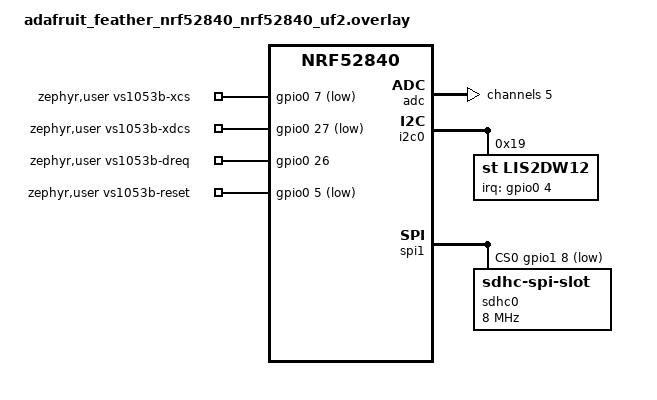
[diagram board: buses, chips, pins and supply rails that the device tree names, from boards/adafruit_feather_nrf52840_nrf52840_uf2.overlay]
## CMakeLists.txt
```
cmake_minimum_required(VERSION 3.20.0)
find_package(Zephyr REQUIRED HINTS $ENV{ZEPHYR_BASE})
project(bleatbox)

target_sources(app PRIVATE
    src/main.c
    src/accel.c
    src/battery.c
    src/vs1053b.c
    src/sdcard.c
    src/audio.c
    src/ble.c
    src/ota.c
    src/fw_image.c
    src/broadcast_log.c
    src/broadcast_log_core.c
    src/compose.c
    src/sounds.c
    src/wrap_to_range.c
    src/device_config.c
    src/device_config_parse.c
    src/sounds_match.c
    src/message.c
)

target_sources_ifdef(CONFIG_SHELL app PRIVATE
    src/shell.c
)
```

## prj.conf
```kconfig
# Bluetooth
CONFIG_BT=y
CONFIG_BT_BROADCASTER=y
CONFIG_BT_OBSERVER=y
CONFIG_BT_EXT_ADV=y
CONFIG_BT_CTLR_ADV_EXT=y
# Two advertising sets: the mesh's non-connectable set + the OTA window's
# connectable set used for SMP-over-BLE.
CONFIG_BT_EXT_ADV_MAX_ADV_SET=2
CONFIG_BT_CTLR_ADV_DATA_LEN_MAX=128
CONFIG_BT_CTLR_SCAN_DATA_LEN_MAX=128

# OTA: become connectable during an update window so an operator can push a
# firmware image over SMP-over-BLE. A per-device name is set at arm time.
CONFIG_BT_PERIPHERAL=y
CONFIG_BT_DEVICE_NAME_DYNAMIC=y
CONFIG_BT_DEVICE_NAME_MAX=24

# SMP / mcumgr over BLE — File System group for `mcumgr fs upload` of the
# image to the SD card, and OS group for `mcumgr reset` as a commit path.
# Image (img_mgmt) group is intentionally NOT used: no MCUboot here.
CONFIG_ZCBOR=y
CONFIG_MCUMGR=y
CONFIG_MCUMGR_TRANSPORT_BT=y
CONFIG_MCUMGR_GRP_FS=y
CONFIG_MCUMGR_GRP_OS=y

# SMP-over-BLE upload tuning (mirrors Zephyr's smp_svr bt.conf).
# REASSEMBLY lets an SMP request span several BLE writes — without it any
# upload chunk larger than one MTU is parsed as a corrupt frame (ECORRUPT).
# MCUMGR_PARAMS reports the buffer size so the host sizes chunks to fit; the
# larger MTU/ACL/data-length and 2475-byte netbuf make the transfer fast
# enough to finish inside the OTA window.
CONFIG_MCUMGR_TRANSPORT_BT_REASSEMBLY=y
CONFIG_MCUMGR_GRP_OS_MCUMGR_PARAMS=y
CONFIG_MCUMGR_TRANSPORT_NETBUF_SIZE=2475
CONFIG_MCUMGR_TRANSPORT_WORKQUEUE_STACK_SIZE=4608
CONFIG_MCUMGR_TRANSPORT_BT_CONN_PARAM_CONTROL=y
CONFIG_BT_L2CAP_TX_MTU=498
CONFIG_BT_BUF_ACL_RX_SIZE=502
CONFIG_BT_BUF_ACL_TX_SIZE=502
CONFIG_BT_CTLR_DATA_LENGTH_MAX=251

# GPIO
CONFIG_GPIO=y

# I2C (LIS2DW12 accelerometer)
CONFIG_I2C=y

# SPI
CONFIG_SPI=y

# ADC (battery voltage monitor via SAADC)
CONFIG_ADC=y

# Sensor subsystem (LIS2DW12 accelerometer)
CONFIG_SENSOR=y
CONFIG_LIS2DW12=y
CONFIG_LIS2DW12_TRIGGER_GLOBAL_THREAD=y
CONFIG_LIS2DW12_WAKEUP=y

# SD card (SDMMC auto-selects SD_STACK -> SDHC)
CONFIG_SDMMC_STACK=y

# Filesystem
CONFIG_FILE_SYSTEM=y
CONFIG_FAT_FILESYSTEM_ELM=y
CONFIG_FS_FATFS_LFN=y
CONFIG_FS_FATFS_LFN_MODE_HEAP=y

# Disk
CONFIG_DISK_ACCESS=y
CONFIG_DISK_DRIVERS=y

# Shell
CONFIG_SHELL=y

# Logging
CONFIG_LOG=y
CONFIG_LOG_DEFAULT_LEVEL=3

# Random number generator
CONFIG_ENTROPY_GENERATOR=y
CONFIG_TEST_RANDOM_GENERATOR=n

# USB device descriptor
CONFIG_CDC_ACM_SERIAL_VID=0x2FE3
CONFIG_CDC_ACM_SERIAL_PID=0x0004
CONFIG_CDC_ACM_SERIAL_MANUFACTURER_STRING="BleatBox"
CONFIG_CDC_ACM_SERIAL_PRODUCT_STRING="BleatBox"

# Power management
CONFIG_PM=y
CONFIG_PM_DEVICE=y

# nRF52840 DC-DC converter (board has the required inductor; more
# efficient than the default LDO).  The board devicetree requests
# DCDC mode, but the regulator driver must be enabled to apply it.
CONFIG_REGULATOR=y

# System
# Heap raised from 8 KB to cover mcumgr/zcbor + SMP buffers during an OTA
# window (in addition to the FAT LFN heap).
CONFIG_HEAP_MEM_POOL_SIZE=16384
CONFIG_MAIN_STACK_SIZE=4096

# Stack overflow detection via MPU — zero runtime cost on nRF52840,
# catches corruption from FAT FS and SPI driver stack usage
CONFIG_HW_STACK_PROTECTION=y

# UF2 output for drag-and-drop flashing
CONFIG_BUILD_OUTPUT_UF2=y

# Use flash partition layout from device tree (UF2 bootloader)
CONFIG_USE_DT_CODE_PARTITION=y
```

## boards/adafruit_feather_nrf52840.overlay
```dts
/*
 * Devicetree overlay for Adafruit Feather nRF52840 Express
 * with Adafruit Music Maker FeatherWing (VS1053B + SD card).
 *
 * Feather pin mapping (nRF52840 GPIO):
 *   D5  = P1.08  ->  SD card CS (directly on FeatherWing)
 *   D6  = P0.07  ->  VS1053B XCS  (SCI command chip select)
 *   D9  = P0.26  ->  VS1053B DREQ (data request, active high)
 *   D10 = P0.27  ->  VS1053B XDCS (SDI data chip select)
 *   A0  = P0.04  ->  SW-18010P vibration switch (external pull-up via internal)
 *
 *   SPI bus (feather header):
 *     SCK  = P0.14
 *     MOSI = P0.13
 *     MISO = P0.15
 */

/ {
	chosen {
		zephyr,console = &cdc_acm_uart0;
		zephyr,shell-uart = &cdc_acm_uart0;
	};

	aliases {
		sdhc0 = &sdhc0;
	};

	vibration_switch: vibration_switch {
		compatible = "gpio-keys";
		vibration_sw: vibration_sw {
			gpios = <&gpio0 4 (GPIO_PULL_UP | GPIO_ACTIVE_LOW)>;
			label = "Vibration switch (SW-18010P)";
		};
	};

	/*
	 * Application-specific GPIOs for the VS1053B codec.
	 * XCS and XDCS are SPI chip selects managed via spi_cs_control
	 * (not gpio-leds) so the SPI driver handles bus locking atomically.
	 * DREQ is a pure input — polled to gate SPI transfers.
	 */
	zephyr,user {
		vs1053b-xcs-gpios = <&gpio0 7 GPIO_ACTIVE_LOW>;
		vs1053b-xdcs-gpios = <&gpio0 27 GPIO_ACTIVE_LOW>;
		vs1053b-dreq-gpios = <&gpio0 26 GPIO_ACTIVE_HIGH>;
	};
};

&zephyr_udc0 {
	cdc_acm_uart0: cdc_acm_uart0 {
		compatible = "zephyr,cdc-acm-uart";
	};
};

&spi1 {
	status = "okay";
	cs-gpios = <&gpio1 8 GPIO_ACTIVE_LOW>;

	sdhc0: sdhc@0 {
		compatible = "zephyr,sdhc-spi-slot";
		reg = <0>;
		spi-max-frequency = <8000000>;
		status = "okay";

		mmc {
			compatible = "zephyr,sdmmc-disk";
			disk-name = "SD";
			status = "okay";
		};
	};
};
```

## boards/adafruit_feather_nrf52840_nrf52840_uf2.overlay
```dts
/*
 * Devicetree overlay for Adafruit Feather nRF52840 Express
 * with Adafruit Music Maker FeatherWing (VS1053B + SD card)
 * and LIS2DW12 accelerometer.
 *
 * Feather pin mapping (nRF52840 GPIO):
 *   D5  = P1.08  ->  SD card CS (directly on FeatherWing)
 *   D6  = P0.07  ->  VS1053B XCS  (SCI command chip select)
 *   D9  = P0.26  ->  VS1053B DREQ (data request, active high)
 *   D10 = P0.27  ->  VS1053B XDCS (SDI data chip select)
 *   A0  = P0.04  ->  LIS2DW12 INT1 (wakeup interrupt)
 *   A1  = P0.05  ->  VS1053B XRESET (hardware reset, active low).
 *                    Requires the FeatherWing RST jumper cut and the
 *                    rst pad wired to A1; lets firmware hold the codec
 *                    in reset (~12 uA) when idle.
 *
 *   SPI bus (feather header):
 *     SCK  = P0.14
 *     MOSI = P0.13
 *     MISO = P0.15
 *
 *   I2C bus (feather header):
 *     SDA  = P0.12
 *     SCL  = P0.11
 *
 *   Battery sense (Feather rev D):
 *     P0.29 = AIN5  ->  VBAT through an on-board 100k/100k divider.
 *                       The divider (the `vbatt` node) is defined by the
 *                       board devicetree; this overlay only adds the
 *                       matching SAADC channel.
 */

#include <zephyr/dt-bindings/adc/adc.h>
#include <zephyr/dt-bindings/adc/nrf-saadc.h>

/* OTA flash split: updater @0x26000, this app @0x3e000. */
#include "bleatbox-partitions.dtsi"

/ {
	chosen {
		/* The app runs from main_app; the updater owns 0x26000. */
		zephyr,code-partition = &main_app;
	};

	aliases {
		sdhc0 = &sdhc0;
	};

	/*
	 * Application-specific GPIOs for the VS1053B codec.
	 * XCS and XDCS are SPI chip selects managed via spi_cs_control
	 * (not gpio-leds) so the SPI driver handles bus locking atomically.
	 * DREQ is a pure input — polled to gate SPI transfers.
	 * XRESET (active low) holds the codec in hardware reset when idle.
	 */
	zephyr,user {
		vs1053b-xcs-gpios = <&gpio0 7 GPIO_ACTIVE_LOW>;
		vs1053b-xdcs-gpios = <&gpio0 27 GPIO_ACTIVE_LOW>;
		vs1053b-dreq-gpios = <&gpio0 26 GPIO_ACTIVE_HIGH>;
		vs1053b-reset-gpios = <&gpio0 5 GPIO_ACTIVE_LOW>;
	};
};

&uart0 {
	status = "disabled";
};

/*
 * SAADC channel for the battery-sense divider on AIN5 (P0.29).
 * Gain 1/6 with the 0.6 V internal reference gives a 3.6 V full-scale
 * range, comfortably above the divided VBAT (~2.1 V at 4.2 V battery).
 */
&adc {
	#address-cells = <1>;
	#size-cells = <0>;

	channel@5 {
		reg = <5>;
		zephyr,gain = "ADC_GAIN_1_6";
		zephyr,reference = "ADC_REF_INTERNAL";
		zephyr,acquisition-time = <ADC_ACQ_TIME(ADC_ACQ_TIME_MICROSECONDS, 10)>;
		zephyr,input-positive = <NRF_SAADC_AIN5>;
		zephyr,resolution = <12>;
	};
};

&i2c0 {
	lis2dw12: lis2dw12@19 {
		compatible = "st,lis2dw12";
		reg = <0x19>;
		irq-gpios = <&gpio0 4 GPIO_ACTIVE_HIGH>;
		int-pin = <1>;
		power-mode = <0>; /* LP mode 1 (12-bit) */
		odr = <100>;
		range = <2>;
		wakeup-duration = <0>; /* 1 ODR cycle above threshold */
	};
};

&spi1 {
	status = "okay";
	cs-gpios = <&gpio1 8 GPIO_ACTIVE_LOW>;

	sdhc0: sdhc@0 {
		compatible = "zephyr,sdhc-spi-slot";
		reg = <0>;
		spi-max-frequency = <8000000>;
		status = "okay";

		mmc {
			compatible = "zephyr,sdmmc-disk";
			disk-name = "SD";
			status = "okay";
		};
	};
};
```

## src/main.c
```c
/*
 * BleatBox — Networked sound trigger firmware
 *
 * Hardware: Adafruit Feather nRF52840 Express
 *           Adafruit Music Maker FeatherWing (VS1053B codec + SD card)
 *           LIS2DW12 accelerometer on I2C0, INT1 on A0 (P0.04)
 *
 * Architecture: event-driven main loop.
 *
 * The vibration and BLE modules are pure event producers — they push
 * events into a shared k_msgq with no knowledge of each other or the
 * audio subsystem.  The main loop is the sole consumer: it waits for
 * events, decides whether to act, and orchestrates BLE broadcasting
 * and sound playback.
 */

#include <zephyr/kernel.h>
#include <zephyr/drivers/gpio.h>
#include <zephyr/logging/log.h>

#include "compose.h"
#include "device_config.h"
#include "events.h"
#include "accel.h"
#include "battery.h"
#include "sdcard.h"
#include "sounds.h"
#include "audio.h"
#include "ble.h"
#include "ota.h"

LOG_MODULE_REGISTER(bleatbox, LOG_LEVEL_INF);

/* ------------------------------------------------------------------ */
/* Onboard LED (boot indicator)                                       */
/* ------------------------------------------------------------------ */

#define LED0_NODE DT_ALIAS(led0)
static const struct gpio_dt_spec g_led = GPIO_DT_SPEC_GET(LED0_NODE, gpios);

/* ------------------------------------------------------------------ */
/* Compile-time configuration                                         */
/* ------------------------------------------------------------------ */

/* Sound played locally when this device detects vibration. */
#define VIBRATION_SOUND_INDEX 0

/* ------------------------------------------------------------------ */
/* Event queue                                                        */
/* ------------------------------------------------------------------ */

/*
 * Depth 4: enough to buffer a burst of events while the main loop
 * is handling one.  Excess events are silently dropped at the
 * producer (k_msgq_put with K_NO_WAIT), which is the desired
 * behavior — we never queue up a backlog of sounds.
 */
#define EVENT_QUEUE_DEPTH 4
K_MSGQ_DEFINE(event_q, sizeof(struct event), EVENT_QUEUE_DEPTH, 4);

/* ------------------------------------------------------------------ */
/* Vibration cooldown                                                 */
/* ------------------------------------------------------------------ */

#define VIBRATION_COOLDOWN_MS 1000

static volatile bool g_drop_vibration_events;

static void cooldown_expired(struct k_timer *timer)
{
    ARG_UNUSED(timer);
    g_drop_vibration_events = false;
    LOG_INF("Vibration cooldown expired");
}

static K_TIMER_DEFINE(g_vibration_cooldown_timer, cooldown_expired, NULL);

/* ------------------------------------------------------------------ */
/* Event handlers                                                     */
/* ------------------------------------------------------------------ */

static void handle_vibration(void)
{
    if (ota_is_active()) {
        LOG_INF("Vibration dropped — OTA update in progress");
        return;
    }

    /*
     * A playing sound (e.g. a BLE-assigned one) shakes the enclosure;
     * don't broadcast assignments for vibration we likely caused
     * ourselves while our own playback request would be discarded.
     * This also covers the window between a claim and the main loop
     * processing its EVENT_AUDIO_START.
     */
    if (audio_is_playing()) {
        LOG_INF("Vibration dropped — sound already playing");
        return;
    }

    LOG_INF("Vibration detected");

    char path[32];
    int ret = sounds_get_path(SOUND_TYPE_GOAT, VIBRATION_SOUND_INDEX,
                              path, sizeof(path));
    if (ret) {
        LOG_ERR("Cannot resolve sound %u: %d", VIBRATION_SOUND_INDEX, ret);
        return;
    }

    if (audio_play_sound(path, 0)) {
        /* Lost a race with another codec claim — don't broadcast a
         * message for a sound we didn't play. */
        return;
    }

    uint8_t payload[16];
    int err = compose_message(payload);
    if (err) {
        LOG_WRN("Message compose failed (%d) — check config and sound count",
                err);
        return;
    }

    LOG_INF("Broadcasting bleat message");
    ble_broadcast_message(payload);
}

static void handle_ble_rx(const struct event *evt)
{
    if (ota_is_active()) {
        LOG_INF("BLE RX dropped — OTA update in progress");
        return;
    }

    if (audio_is_playing()) {
        LOG_INF("BLE RX dropped — sound already playing");
        return;
    }

    enum sound_type type = ble_sound_decode_type(evt->sound);
    uint8_t index = ble_sound_decode_index(evt->sound);

    char path[32];
    int ret = sounds_get_path(type, index, path, sizeof(path));
    if (ret) {
        LOG_WRN("BLE RX dropped — invalid sound 0x%02x", evt->sound);
        return;
    }

    LOG_INF("BLE RX assignment: sound=0x%02x delay=%u ms",
            evt->sound, evt->delay_ms);

    audio_play_sound(path, evt->delay_ms);
}

/* ------------------------------------------------------------------ */
/* Main                                                               */
/* ------------------------------------------------------------------ */

int main(void)
{
    LOG_INF("BleatBox firmware starting");

    /* --- Boot indicator (blink LED 3 times) --- */
    if (gpio_is_ready_dt(&g_led)) {
        gpio_pin_configure_dt(&g_led, GPIO_OUTPUT_INACTIVE);
        for (int i = 0; i < 3; i++) {
            gpio_pin_set_dt(&g_led, 1);
            k_msleep(100);
            gpio_pin_set_dt(&g_led, 0);
            k_msleep(100);
        }
    }

    if (audio_init(&event_q)) {
        LOG_ERR("Audio init failed — playback disabled");
    }
    sdcard_init();
    sounds_init();
    if (accel_init(&event_q)) {
        LOG_ERR("Accelerometer init failed — vibration triggers disabled");
    }
    if (battery_init()) {
        LOG_ERR("Battery monitor init failed — battery reads disabled");
    }
    if (ble_init(&event_q)) {
        LOG_ERR("BLE init failed — broadcasts and relays disabled");
    }
    if (ota_init(&event_q)) {
        LOG_ERR("OTA init failed — over-the-air updates disabled");
    }

    struct device_config cfg;
    device_config_defaults(&cfg);

    if (sdcard_mount()) {
        LOG_ERR("SD card mount failed — playback disabled, using default config");
    } else {
        if (sounds_scan()) {
            LOG_ERR("Sound scan failed — playback disabled");
        }
        if (device_config_load(&cfg)) {
            LOG_ERR("Device config load failed — using default config");
            device_config_defaults(&cfg);
        }
    }

    /* --- Volume from config --- */
    audio_set_volume(cfg.volume);

    /* --- Message composition config --- */
    compose_init(cfg.delay_min_ms, cfg.delay_max_ms,
                 VIBRATION_SOUND_INDEX + 1,
                 sounds_get_count(SOUND_TYPE_GOAT));

    /* --- Start producers (any-motion interrupt, BLE scan) --- */
    if (accel_start(cfg.accel_threshold_mg)) {
        LOG_ERR("Accelerometer start failed — vibration triggers disabled");
    }
    if (ble_start(cfg.id, cfg.relay_ttl)) {
        LOG_ERR("BLE start failed — broadcasts and relays disabled");
    }
    ota_set_device_id(cfg.id);

    g_drop_vibration_events = false;

    LOG_INF("BleatBox ready — waiting for events");

    /* --- Event loop --- */
    struct event evt;
    for (;;) {
        /*
         * Block until an event arrives.  While blocked, the idle
         * thread runs and the nRF52840 enters System ON idle (ARM
         * WFE) — the lowest power state that keeps BLE scanning
         * alive.
         */
        k_msgq_get(&event_q, &evt, K_FOREVER);

        switch (evt.type) {
        case EVENT_VIBRATION:
            if (g_drop_vibration_events) {
                LOG_INF("Vibration dropped — cooldown active");
            } else {
                handle_vibration();
            }
            break;
        case EVENT_BLE_RX:
            handle_ble_rx(&evt);
            break;
        case EVENT_AUDIO_START:
            /*
             * Suppress vibration triggers for the whole audio
             * session. Stop any pending cooldown timer so a stale
             * expiry from a previous playback can't clear the flag
             * while this one is still running.
             */
            k_timer_stop(&g_vibration_cooldown_timer);
            g_drop_vibration_events = true;
            break;
        case EVENT_AUDIO_DONE:
            /* Keep suppressing until the enclosure rings down. */
            k_timer_start(&g_vibration_cooldown_timer,
                          K_MSEC(VIBRATION_COOLDOWN_MS), K_NO_WAIT);
            break;
        case EVENT_OTA_ARM:
            ota_start();
            break;
        case EVENT_OTA_CANCEL:
            ota_cancel();
            break;
        }
    }

    return 0; /* unreachable */
}
```

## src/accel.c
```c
/*
 * LIS2DW12 accelerometer — wakeup event producer.
 */

#include <zephyr/kernel.h>
#include <zephyr/device.h>
#include <zephyr/devicetree.h>
#include <zephyr/drivers/i2c.h>
#include <zephyr/drivers/sensor.h>
#include <zephyr/logging/log.h>

#include "accel.h"
#include "events.h"

LOG_MODULE_REGISTER(accel, LOG_LEVEL_INF);

#define LIS2DW12_REG_CTRL1 0x20

/*
 * 100 Hz, low-power mode 1: ODR[7:4]=0101, MODE[3:2]=00, LP_MODE[1:0]=01.
 */
#define LIS2DW12_ODR_100HZ_LP1 0x51

static const struct device *g_accel_dev =
    DEVICE_DT_GET(DT_NODELABEL(lis2dw12));

static const struct i2c_dt_spec g_i2c_spec =
    I2C_DT_SPEC_GET(DT_NODELABEL(lis2dw12));

static struct k_msgq *g_evt_q;

/* Set in accel_init() once the device is confirmed ready; gates
 * accel_start() so it never touches an unready peripheral. */
static bool g_ready;

/*
 * The sensor API stores this pointer (the LIS2DW12 driver hands it
 * back on every interrupt), so it must outlive accel_init().
 */
static const struct sensor_trigger g_motion_trigger = {
    .type = SENSOR_TRIG_MOTION,
    .chan = SENSOR_CHAN_ACCEL_XYZ,
};

static void accel_trigger_handler(const struct device *dev,
                                  const struct sensor_trigger *trig)
{
    struct event evt = {.type = EVENT_VIBRATION};
    k_msgq_put(g_evt_q, &evt, K_NO_WAIT);
}

int accel_init(struct k_msgq *event_q)
{
    g_evt_q = event_q;
    g_ready = device_is_ready(g_accel_dev);

    if (!g_ready) {
        LOG_ERR("LIS2DW12 device not ready");
        return -ENODEV;
    }

    LOG_INF("LIS2DW12 initialized");
    return 0;
}

int accel_set_threshold(uint16_t threshold_mg)
{
    if (!g_ready) {
        return -ENODEV;
    }

    /* Set wakeup threshold via the driver's attr interface.
     * Convert mg to m/s²: val = mg * 9.807 / 1000. */
    uint32_t ums2 = (uint32_t)threshold_mg * 9807;
    struct sensor_value threshold_val = {
        .val1 = ums2 / 1000000,
        .val2 = ums2 % 1000000,
    };

    int ret = sensor_attr_set(g_accel_dev, SENSOR_CHAN_ACCEL_XYZ,
                              SENSOR_ATTR_UPPER_THRESH, &threshold_val);
    if (ret) {
        LOG_ERR("Failed to set wakeup threshold: %d", ret);
    }
    return ret;
}

int accel_start(uint16_t threshold_mg)
{
    if (!g_ready) {
        return -ENODEV;
    }

    int ret = accel_set_threshold(threshold_mg);
    if (ret) {
        return ret;
    }

    /* Register wakeup trigger — begins producing EVENT_VIBRATION. */
    ret = sensor_trigger_set(g_accel_dev, &g_motion_trigger,
                             accel_trigger_handler);
    if (ret) {
        LOG_ERR("Failed to set trigger: %d", ret);
        return ret;
    }

    LOG_INF("LIS2DW12 started — threshold %u mg", threshold_mg);
    return 0;
}

int accel_sample_xyz(struct sensor_value *x,
                     struct sensor_value *y,
                     struct sensor_value *z)
{
    int ret = sensor_sample_fetch(g_accel_dev);
    if (ret) {
        return ret;
    }

    ret = sensor_channel_get(g_accel_dev, SENSOR_CHAN_ACCEL_X, x);
    if (ret) {
        return ret;
    }
    ret = sensor_channel_get(g_accel_dev, SENSOR_CHAN_ACCEL_Y, y);
    if (ret) {
        return ret;
    }
    return sensor_channel_get(g_accel_dev, SENSOR_CHAN_ACCEL_Z, z);
}

int accel_odr_boost(uint8_t *prev_ctrl1)
{
    int ret = i2c_reg_read_byte_dt(&g_i2c_spec, LIS2DW12_REG_CTRL1,
                                   prev_ctrl1);
    if (ret) {
        return ret;
    }
    return i2c_reg_write_byte_dt(&g_i2c_spec, LIS2DW12_REG_CTRL1,
                                 LIS2DW12_ODR_100HZ_LP1);
}

int accel_odr_restore(uint8_t prev_ctrl1)
{
    return i2c_reg_write_byte_dt(&g_i2c_spec, LIS2DW12_REG_CTRL1,
                                 prev_ctrl1);
}
```

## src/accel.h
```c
/*
 * LIS2DW12 accelerometer — wakeup event producer.
 *
 * Configures the accelerometer in low-power mode with a wakeup
 * interrupt threshold and pushes EVENT_VIBRATION into the provided
 * message queue on each trigger.
 */

#ifndef ACCEL_H_
#define ACCEL_H_

#include <zephyr/kernel.h>
#include <zephyr/drivers/sensor.h>

/**
 * Initialize the LIS2DW12 accelerometer module.
 *
 * Stores the event queue and verifies the device is ready.  Does not
 * configure or arm the wakeup interrupt — call accel_start() for that.
 *
 * @param event_q       Message queue to push EVENT_VIBRATION events into.
 * @return 0 on success, negative errno on failure.
 */
int accel_init(struct k_msgq *event_q);

/**
 * Configure the wakeup threshold and arm the motion trigger.
 *
 * After this call the accelerometer begins pushing EVENT_VIBRATION
 * events into the queue passed to accel_init().
 *
 * @param threshold_mg  Wakeup threshold in milli-g (e.g. 200 = 200 mg).
 * @return 0 on success, negative errno on failure (including -ENODEV
 *         if accel_init() did not succeed).
 */
int accel_start(uint16_t threshold_mg);

/**
 * Update the wakeup threshold on the live accelerometer.
 *
 * Applies immediately without re-arming the trigger; does not persist
 * to the SD-card config.
 *
 * @param threshold_mg  Wakeup threshold in milli-g (e.g. 200 = 200 mg).
 * @return 0 on success, negative errno on failure (including -ENODEV
 *         if accel_init() did not succeed).
 */
int accel_set_threshold(uint16_t threshold_mg);

/**
 * Read a single XYZ acceleration sample.
 *
 * @param[out] x  X-axis acceleration.
 * @param[out] y  Y-axis acceleration.
 * @param[out] z  Z-axis acceleration.
 * @return 0 on success, negative errno on failure.
 */
int accel_sample_xyz(struct sensor_value *x,
                     struct sensor_value *y,
                     struct sensor_value *z);

/**
 * Temporarily set the ODR to 100 Hz for interactive sampling.
 *
 * @param[out] prev_ctrl1  Previous CTRL1 register value (for restore).
 * @return 0 on success, negative errno on failure.
 */
int accel_odr_boost(uint8_t *prev_ctrl1);

/**
 * Restore the CTRL1 register to a previous value.
 *
 * @param prev_ctrl1  Value returned by accel_odr_boost().
 * @return 0 on success, negative errno on failure.
 */
int accel_odr_restore(uint8_t prev_ctrl1);

#endif /* ACCEL_H_ */
```

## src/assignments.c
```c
/*
 * Assignment generation — random sound/delay for each peer device.
 */

#include <stdbool.h>
#include <string.h>
#include <errno.h>
#include <zephyr/random/random.h>

#include "assignments.h"
#include "device_config.h"
#include "wrap_to_range.h"

/* Capacity matches the config limit so configured peers are never
 * silently dropped by the clamp in assignments_init(). */
#define MAX_PEERS DEVICE_CONFIG_MAX_PEERS

static struct assignment g_assignments[MAX_PEERS];
static uint8_t g_peer_ids[MAX_PEERS];
static uint8_t g_num_peers;
static uint16_t g_delay_min_ms;
static uint16_t g_delay_max_ms;
static uint8_t g_first_sound;
static uint8_t g_num_sounds;
static bool g_initialized;

void assignments_init(const uint8_t *ids, uint8_t count,
                      uint16_t min_ms, uint16_t max_ms,
                      uint8_t first_sound, uint8_t num_sounds)
{
    g_num_peers = count < MAX_PEERS ? count : MAX_PEERS;
    memcpy(g_peer_ids, ids, g_num_peers);
    g_delay_min_ms = min_ms;
    g_delay_max_ms = max_ms;
    g_first_sound = first_sound;
    g_num_sounds = num_sounds;
    g_initialized = true;
}

int assignments_generate(const struct assignment **out)
{
    if (!g_initialized) {
        return -EINVAL;
    }
    if (g_num_sounds < 2) {
        return 0;
    }

    for (int i = 0; i < g_num_peers; i++) {
        g_assignments[i].device_id = g_peer_ids[i];
        g_assignments[i].sound = (uint8_t)wrap_to_range(sys_rand32_get(),
                                                        g_first_sound,
                                                        g_num_sounds - 1);
        g_assignments[i].delay_ms = (uint16_t)wrap_to_range(
            sys_rand32_get(), g_delay_min_ms, g_delay_max_ms);
    }

    *out = g_assignments;
    return g_num_peers;
}
```

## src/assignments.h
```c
/*
 * Assignment generation — random sound/delay for each peer device.
 */

#ifndef ASSIGNMENTS_H_
#define ASSIGNMENTS_H_

#include <stdint.h>

/** A single device assignment (sound + delay). */
struct assignment {
    uint8_t device_id;
    uint8_t sound;
    uint16_t delay_ms;
};

/**
 * Store peer, delay, and sound count configuration for future assignments.
 *
 * @param peer_ids      Array of peer device IDs (copied internally).
 * @param num_peers     Length of @p peer_ids.
 * @param delay_min_ms  Minimum random delay in milliseconds.
 * @param delay_max_ms  Maximum random delay in milliseconds.
 * @param first_sound   Lowest sound index to assign (skips local-only sounds).
 * @param num_sounds    Number of available sounds.
 */
void assignments_init(const uint8_t *peer_ids, uint8_t num_peers,
                      uint16_t delay_min_ms, uint16_t delay_max_ms,
                      uint8_t first_sound, uint8_t num_sounds);

/**
 * Generate random sound and delay assignments for the configured peers.
 *
 * @param[out] out  Set to point to the internal assignment array.
 *                  Valid until the next call to assignments_generate().
 * @return     Number of assignments generated, or negative errno on error.
 */
int assignments_generate(const struct assignment **out);

#endif /* ASSIGNMENTS_H_ */
```

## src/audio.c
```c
/*
 * Audio subsystem — sound playback via VS1053B codec.
 *
 * Playback runs on a dedicated background thread.  audio_play_sound()
 * signals the thread and returns immediately so the caller is never
 * blocked during audio streaming.
 */

#include <zephyr/kernel.h>
#include <zephyr/device.h>
#include <zephyr/devicetree.h>
#include <zephyr/drivers/spi.h>
#include <zephyr/fs/fs.h>
#include <zephyr/logging/log.h>
#include <zephyr/sys/atomic.h>

#include <string.h>

#include "audio.h"
#include "events.h"
#include "sdcard.h"
#include "vs1053b.h"

LOG_MODULE_REGISTER(audio, LOG_LEVEL_INF);

/*
 * Optional VS1053B firmware patch, applied after every power-up
 * (hardware reset wipes it).  Compiled by scripts/compile_patch.py;
 * absent file means no patch — not an error.
 */
#define AUDIO_PATCH_PATH SDCARD_MOUNT_POINT "/patch.bin"

/* ------------------------------------------------------------------ */
/* Hardware                                                           */
/* ------------------------------------------------------------------ */

static const struct device *g_spi_dev = DEVICE_DT_GET(DT_NODELABEL(spi1));
static struct k_msgq *g_event_q;

/*
 * Set (via compare-and-set) by whoever claims the codec — a playback
 * request or the sine test — and cleared when the codec goes idle.
 */
static atomic_t g_playing;

/* Sine test currently running.  Only touched by audio_sine_test()
 * (shell thread), under the g_playing claim. */
static bool g_sine_active;

/* Set in audio_init() once the SPI bus and codec are up.  When false
 * (init failed), every operate path is a graceful no-op so the rest of
 * the system still runs without a usable codec. */
static bool g_ready;

#define SOUND_PATH_MAX 32

struct play_request {
    char path[SOUND_PATH_MAX];
    uint16_t delay_ms;
};

K_MSGQ_DEFINE(g_play_q, sizeof(struct play_request), 1, 4);

#define AUDIO_STACK_SIZE 4096
#define AUDIO_PRIORITY 5

static void playback_thread(void *p1, void *p2, void *p3);
K_THREAD_DEFINE(audio_tid, AUDIO_STACK_SIZE,
                playback_thread, NULL, NULL, NULL,
                AUDIO_PRIORITY, 0, 0);

int audio_init(struct k_msgq *event_q)
{
    g_event_q = event_q;
    atomic_set(&g_playing, 0);
    g_sine_active = false;
    g_ready = false;

    if (!device_is_ready(g_spi_dev)) {
        LOG_ERR("SPI device not ready — audio disabled");
        return -ENODEV;
    }

    int ret = vs1053b_init(g_spi_dev);
    if (ret) {
        LOG_ERR("VS1053B init failed: %d — audio disabled", ret);
        return ret;
    }

    /* vs1053b_init() leaves the codec in hardware reset (~12 uA) until
     * the first playback.  audio_set_volume() can still be called — it
     * caches the value that vs1053b_power_up() applies on wake. */

    g_ready = true;
    LOG_INF("Audio initialized");
    return 0;
}

/*
 * Read one big-endian uint16_t from the file.
 * Returns 0 on success, -EIO on short/failed read.
 */
static int read_u16(struct fs_file_t *f, uint16_t *val)
{
    uint8_t buf[2];

    if (fs_read(f, buf, 2) != 2) {
        return -EIO;
    }
    *val = ((uint16_t)buf[0] << 8) | buf[1];
    return 0;
}

/*
 * Patch file format (repeated until EOF), as written by
 * scripts/compile_patch.py:
 *   [register: 1 byte] [count: 2 bytes BE] [data: count x 2 bytes BE]
 */
static int apply_patch_records(struct fs_file_t *f)
{
    for (;;) {
        uint8_t reg;
        ssize_t n = fs_read(f, &reg, 1);
        if (n == 0) {
            return 0; /* EOF — all records applied */
        }
        if (n != 1) {
            return -EIO; /* read error is not EOF — don't claim success */
        }

        uint16_t count;
        int ret = read_u16(f, &count);
        if (ret) {
            return ret;
        }

        for (uint16_t i = 0; i < count; i++) {
            uint16_t val;
            ret = read_u16(f, &val);
            if (ret) {
                return ret;
            }
            ret = vs1053b_write_reg(reg, val);
            if (ret) {
                return ret;
            }
        }
    }
}

/* A missing patch file is normal; anything else is logged. */
static void apply_patch_if_present(void)
{
    struct fs_file_t f;
    fs_file_t_init(&f);

    if (fs_open(&f, AUDIO_PATCH_PATH, FS_O_READ) < 0) {
        return;
    }

    int ret = apply_patch_records(&f);
    fs_close(&f);

    if (ret) {
        LOG_ERR("Patch %s failed: %d", AUDIO_PATCH_PATH, ret);
    } else {
        LOG_INF("Patch %s applied", AUDIO_PATCH_PATH);
    }
}

int audio_get_volume(uint8_t *percent)
{
    if (!g_ready) {
        return -ENODEV;
    }
    return vs1053b_get_volume(percent);
}

int audio_set_volume(uint8_t percent)
{
    if (!g_ready) {
        return -ENODEV;
    }
    return vs1053b_set_volume(percent);
}

/* ------------------------------------------------------------------ */
/* Playback thread                                                    */
/* ------------------------------------------------------------------ */

/*
 * Post an audio session event to the main loop.  Unlike trigger
 * events, START and DONE must not be dropped — the main loop tracks
 * them as pairs to run its vibration suppression.  Block until a
 * slot frees: the main loop always drains the queue and never waits
 * on this thread, so this is brief and cannot deadlock.
 */
static void post_audio_event(enum event_type type)
{
    if (!g_event_q) {
        return;
    }

    struct event evt = {.type = type};
    k_msgq_put(g_event_q, &evt, K_FOREVER);
}

/*
 * Mark the audio session over and notify the main loop.  Must run on
 * every exit path of a playback request — a skipped EVENT_AUDIO_DONE
 * leaves the main loop's vibration cooldown stuck forever.
 */
static void finish_request(void)
{
    post_audio_event(EVENT_AUDIO_DONE);

    /*
     * Clear the claim only after AUDIO_DONE is queued: any vibration
     * event that arrives once the codec reads as idle is then ordered
     * behind AUDIO_DONE in the queue, so the main loop restarts the
     * cooldown before it can act on the vibration.
     */
    atomic_set(&g_playing, 0);
}

static void playback_thread(void *p1, void *p2, void *p3)
{
    ARG_UNUSED(p1);
    ARG_UNUSED(p2);
    ARG_UNUSED(p3);

    for (;;) {
        struct play_request req;
        if (k_msgq_get(&g_play_q, &req, K_FOREVER)) {
            continue;
        }
        LOG_INF("Received playback request: path=%s delay=%u ms", req.path, req.delay_ms);

        /* The session covers the delay too — the device is committed
         * to this sound and must not trigger on stray vibration. */
        post_audio_event(EVENT_AUDIO_START);

        if (req.delay_ms > 0) {
            LOG_INF("Delaying playback for %u ms", req.delay_ms);
            k_msleep(req.delay_ms);
        }

        struct fs_file_t f;
        fs_file_t_init(&f);
        int ret = fs_open(&f, req.path, FS_O_READ);
        if (ret < 0) {
            LOG_ERR("Cannot open %s: %d", req.path, ret);
            finish_request();
            continue;
        }

        ret = vs1053b_power_up();
        if (ret) {
            LOG_ERR("Codec power-up failed: %d", ret);
            vs1053b_power_down();
            fs_close(&f);
            finish_request();
            continue;
        }
        apply_patch_if_present();

        LOG_INF("Playing %s", req.path);

        uint8_t buf[VS1053B_DATA_CHUNK];
        ssize_t nread;
        while ((nread = fs_read(&f, buf, sizeof(buf))) > 0) {
            ret = vs1053b_write_data(buf, nread);
            if (ret) {
                LOG_ERR("Playback aborted: SPI error");
                break;
            }
        }
        if (nread < 0) {
            LOG_ERR("Read error on %s: %d", req.path, (int)nread);
        }

        fs_close(&f);
        vs1053b_end_playback();
        vs1053b_power_down();
        finish_request();
        LOG_INF("Playback finished");
    }
}

/* ------------------------------------------------------------------ */
/* Public API                                                         */
/* ------------------------------------------------------------------ */

bool audio_is_playing(void)
{
    return atomic_get(&g_playing) != 0;
}

int audio_play_sound(const char *path, uint16_t delay_ms)
{
    if (!g_ready) {
        LOG_WRN("audio_play_sound — audio disabled (codec init failed)");
        return -ENODEV;
    }

    if (!atomic_cas(&g_playing, 0, 1)) {
        LOG_WRN("audio_play_sound called while already playing — ignored");
        return -EBUSY;
    }

    struct play_request req = {.delay_ms = delay_ms};
    strncpy(req.path, path, sizeof(req.path) - 1);
    req.path[sizeof(req.path) - 1] = '\0';

    if (k_msgq_put(&g_play_q, &req, K_NO_WAIT)) {
        /* Unreachable — a successful claim means the previous request
         * was drained from the queue — but don't strand the claim if
         * that ever changes. */
        LOG_ERR("Playback request dropped — queue full");
        atomic_set(&g_playing, 0);
        return -EAGAIN;
    }
    return 0;
}

int audio_sine_test(bool enable)
{
    if (!g_ready) {
        return -ENODEV;
    }

    if (enable) {
        if (g_sine_active) {
            return 0;
        }

        /* Claim the codec like a playback request: trigger events are
         * dropped by the audio_is_playing() gates while the tone runs,
         * and playback cannot start until the test is stopped. */
        if (!atomic_cas(&g_playing, 0, 1)) {
            return -EBUSY;
        }

        int ret = vs1053b_power_up();
        if (ret == 0) {
            ret = vs1053b_sine_test(true);
        }
        if (ret) {
            /* No START was posted, so no DONE is owed — just release
             * the claim. */
            vs1053b_power_down();
            atomic_set(&g_playing, 0);
            return ret;
        }

        g_sine_active = true;
        post_audio_event(EVENT_AUDIO_START);
        return 0;
    }

    if (!g_sine_active) {
        return -EALREADY;
    }

    int ret = vs1053b_sine_test(false);
    vs1053b_power_down();
    g_sine_active = false;

    /* End the session exactly like a finished playback — DONE arms
     * the cooldown, since the tone shook the enclosure just like a
     * real sound. */
    finish_request();
    return ret;
}
```

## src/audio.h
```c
/*
 * Audio subsystem — sound playback via VS1053B codec.
 */

#ifndef AUDIO_H_
#define AUDIO_H_

#include <zephyr/kernel.h>

#include <stdbool.h>
#include <stdint.h>

/**
 * Initialize the audio subsystem (SPI bus and VS1053B codec).
 *
 * Must be called before any other audio function.  On failure the
 * module stays disabled and every other entry point becomes a graceful
 * no-op returning -ENODEV, so the caller may continue without audio.
 *
 * @param event_q  Message queue for posting EVENT_AUDIO_START /
 *                 EVENT_AUDIO_DONE around each audio session
 *                 (playback or sine test).  May be NULL to disable.
 * @return 0 on success, negative errno on failure.
 */
int audio_init(struct k_msgq *event_q);

/**
 * Get the current playback volume.
 *
 * @param[out] percent  0 (silent) to 100 (maximum).
 * @return 0 on success, negative errno on failure.
 */
int audio_get_volume(uint8_t *percent);

/**
 * Set playback volume.
 *
 * @param percent  0 (silent) to 100 (maximum).
 * @return 0 on success, negative errno on failure.
 */
int audio_set_volume(uint8_t percent);

/**
 * Start playing an MP3 file from the SD card through the VS1053B.
 *
 * Returns immediately.  Playback runs on a dedicated background
 * thread.  audio_is_playing() returns true from the moment this
 * function returns success until the file has been fully streamed.
 *
 * The path string is copied internally; the caller's buffer does
 * not need to remain valid after this function returns.
 *
 * @param path      Filesystem path to the MP3 file (max 31 chars).
 * @param delay_ms  Milliseconds to wait before playback starts.
 *                  The delay runs on the audio thread; audio_is_playing()
 *                  returns true for the entire duration.
 * @return 0 if the request was accepted, -EBUSY if a sound is
 *         already playing (the request is ignored), -ENODEV if the
 *         audio subsystem failed to initialize.
 */
int audio_play_sound(const char *path, uint16_t delay_ms);

/**
 * Start or stop the VS1053B sine test tone.
 *
 * Starting claims the codec like a playback request and posts
 * EVENT_AUDIO_START: trigger events are ignored while the tone runs,
 * and playback cannot start until the test is stopped.  Stopping
 * powers the codec back down and posts EVENT_AUDIO_DONE so the main
 * loop runs its vibration cooldown.
 *
 * @param enable  true to start the tone, false to stop it.
 * @return 0 on success, -EBUSY if a sound is playing, -EALREADY if
 *         stopping while no test is running, or a negative errno
 *         from the codec.
 */
int audio_sine_test(bool enable);

/**
 * Check whether a sound is currently playing.
 *
 * Safe to call from any context including ISRs.
 *
 * @return true if playback is in progress, false otherwise.
 */
bool audio_is_playing(void);

#endif /* AUDIO_H_ */
```

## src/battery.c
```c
/*
 * Battery monitor — one-shot SAADC reads of the VBAT divider.
 */

#include <zephyr/kernel.h>
#include <zephyr/drivers/adc.h>
#include <zephyr/drivers/adc/voltage_divider.h>
#include <zephyr/logging/log.h>

#include "battery.h"

LOG_MODULE_REGISTER(battery, LOG_LEVEL_INF);

/* Conversions averaged per read.  A single 12-bit SAADC sample carries a
 * few LSB of noise; averaging 16 cuts the spread ~4x while still taking
 * well under a millisecond. */
#define BATTERY_SAMPLE_COUNT 16

static const struct voltage_divider_dt_spec g_vbatt =
    VOLTAGE_DIVIDER_DT_SPEC_GET(DT_PATH(vbatt));
static bool g_ready;

int battery_init(void)
{
    g_ready = false;

    if (!adc_is_ready_dt(&g_vbatt.port)) {
        LOG_ERR("ADC controller not ready");
        return -ENODEV;
    }

    int ret = adc_channel_setup_dt(&g_vbatt.port);
    if (ret) {
        LOG_ERR("ADC channel setup failed: %d", ret);
        return ret;
    }

    g_ready = true;
    return 0;
}

int battery_read_mv(int32_t *millivolts)
{
    if (!g_ready) {
        return -ENODEV;
    }

    int16_t raw;
    struct adc_sequence seq = {
        .buffer = &raw,
        .buffer_size = sizeof(raw),
    };

    int ret = adc_sequence_init_dt(&g_vbatt.port, &seq);
    if (ret) {
        return ret;
    }

    /* Average several conversions to smooth out per-sample noise. */
    int32_t sum = 0;
    for (int i = 0; i < BATTERY_SAMPLE_COUNT; i++) {
        ret = adc_read_dt(&g_vbatt.port, &seq);
        if (ret) {
            return ret;
        }
        sum += raw;
    }

    /* Convert the averaged raw count to the voltage at the ADC pin, then
     * undo the divider to recover the battery voltage. */
    int32_t mv = (sum + BATTERY_SAMPLE_COUNT / 2) / BATTERY_SAMPLE_COUNT;
    ret = adc_raw_to_millivolts_dt(&g_vbatt.port, &mv);
    if (ret) {
        return ret;
    }

    ret = voltage_divider_scale_dt(&g_vbatt, &mv);
    if (ret) {
        return ret;
    }

    *millivolts = mv;
    return 0;
}
```

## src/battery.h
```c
/*
 * Battery monitor — reads VBAT through the on-board voltage divider.
 *
 * The Feather nRF52840 wires VBAT to AIN5 (P0.29) through a 100k/100k
 * divider; this module samples it on demand via the SAADC.  Sampling is
 * one-shot — the ADC is only powered for the brief conversion, so the
 * module adds no continuous draw beyond the divider's own bleed current.
 */

#ifndef BATTERY_H_
#define BATTERY_H_

#include <stdint.h>

/**
 * Initialize the battery monitor.
 *
 * Verifies the ADC controller is ready and configures the battery-sense
 * channel.  Does not start sampling; call battery_read_mv() on demand.
 *
 * @return 0 on success, negative errno on failure.
 */
int battery_init(void);

/**
 * Read the battery voltage.
 *
 * Performs a single SAADC conversion and applies the divider scaling.
 *
 * @param[out] millivolts  Battery voltage in millivolts.
 * @return 0 on success, negative errno on failure (including -ENODEV if
 *         battery_init() did not succeed).
 */
int battery_read_mv(int32_t *millivolts);

#endif /* BATTERY_H_ */
```

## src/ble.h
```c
/*
 * BLE subsystem — extended advertising and scanning.
 *
 * Produces EVENT_BLE_RX events when a matching broadcast is received.
 * Has no knowledge of the audio subsystem.
 */

#ifndef BLE_H_
#define BLE_H_

#include <zephyr/kernel.h>
#include <stdint.h>

#include "ble_encode.h"

/**
 * Initialize Bluetooth: enable the stack, create the extended
 * advertising set, and register the scan callback.  Does not start
 * scanning — call ble_start() for that.
 *
 * @param event_q    Message queue to push EVENT_BLE_RX events into.
 * @return 0 on success, negative errno on failure.
 */
int ble_init(struct k_msgq *event_q);

/**
 * Start scanning for peer broadcasts.
 *
 * After this call the BLE module pushes EVENT_BLE_RX events into the
 * queue passed to ble_init() and relays packets up to @p relay_ttl hops.
 *
 * @param device_id  This device's 1-based ID from the SD-card config.  It
 *                    stamps our broadcasts and selects our message slot
 *                    (id - 1); ids of 0 or above the slot count only relay.
 * @param relay_ttl  Maximum relay hops.  0 disables relaying.
 * @return 0 on success, negative errno on failure (including -ENODEV
 *         if ble_init() did not succeed).
 */
int ble_start(uint8_t device_id, uint8_t relay_ttl);

/**
 * Broadcast a 16-byte message payload via BLE extended advertising.
 *
 * The BLE module stamps the packet with this device as originator, an
 * auto-incremented sequence number, and the configured relay TTL.  Build the
 * payload with the message_* helpers (e.g. via compose_message()).
 *
 * @param payload  16-byte message payload to send.
 * @return 0 on success, or a negative errno on BLE failure.
 */
int ble_broadcast_message(const uint8_t payload[16]);

/**
 * Pause the mesh: stop scanning so the BLE controller is free for other use
 * (the OTA window's connectable advertising).  Continuous scanning otherwise
 * starves the connectable advertisement.  Call ble_resume() to restart.
 */
void ble_pause(void);

/** Resume the mesh after ble_pause(): restart scanning. */
void ble_resume(void);

#endif /* BLE_H_ */
```

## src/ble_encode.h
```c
#ifndef BLE_ENCODE_H_
#define BLE_ENCODE_H_

#include <stdint.h>

#include "sounds.h"

#define BLE_SOUND_TYPE_BIT  7
#define BLE_SOUND_TYPE_MASK (1U << BLE_SOUND_TYPE_BIT)
#define BLE_SOUND_INDEX_MASK 0x7F

static inline uint8_t ble_sound_encode(enum sound_type type, uint8_t index)
{
    return (uint8_t)((type << BLE_SOUND_TYPE_BIT) | (index & BLE_SOUND_INDEX_MASK));
}

static inline enum sound_type ble_sound_decode_type(uint8_t encoded)
{
    return (enum sound_type)((encoded >> BLE_SOUND_TYPE_BIT) & 1);
}

static inline uint8_t ble_sound_decode_index(uint8_t encoded)
{
    return encoded & BLE_SOUND_INDEX_MASK;
}

#endif /* BLE_ENCODE_H_ */
```

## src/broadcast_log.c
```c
/*
 * Broadcast log — thread-safe wrapper around the lock-free core.
 */

#include <zephyr/kernel.h>

#include "broadcast_log.h"
#include "broadcast_log_core.h"

static struct broadcast_log g_log;
static struct k_spinlock g_lock;

void broadcast_log_init(void)
{
    k_spinlock_key_t key = k_spin_lock(&g_lock);
    broadcast_log_core_init(&g_log);
    k_spin_unlock(&g_lock, key);
}

bool broadcast_log_check_and_record(uint8_t originator, uint8_t seq)
{
    k_spinlock_key_t key = k_spin_lock(&g_lock);
    bool duplicate = broadcast_log_core_check_and_record(&g_log,
                                                         originator, seq);
    k_spin_unlock(&g_lock, key);
    return duplicate;
}

void broadcast_log_record(uint8_t originator, uint8_t seq)
{
    k_spinlock_key_t key = k_spin_lock(&g_lock);
    broadcast_log_core_record(&g_log, originator, seq);
    k_spin_unlock(&g_lock, key);
}
```
